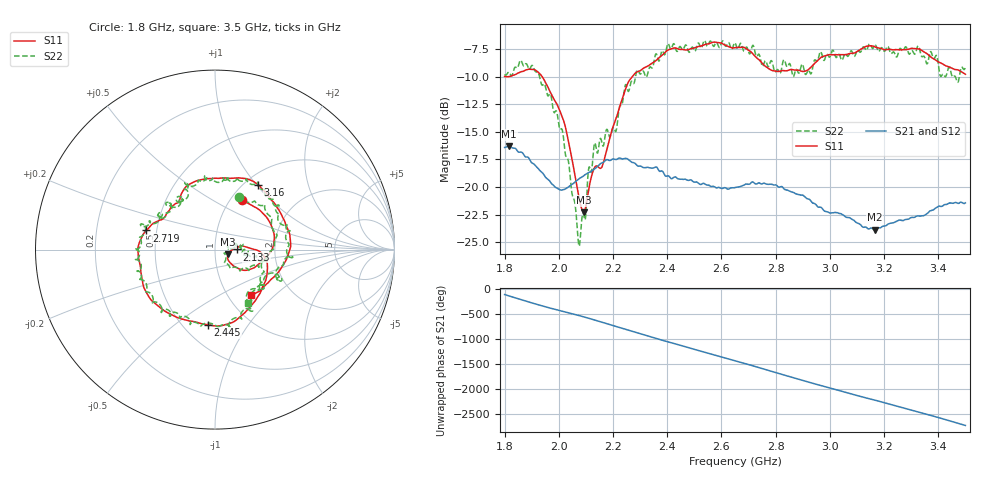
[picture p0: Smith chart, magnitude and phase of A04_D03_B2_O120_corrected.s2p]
! Created with skrf 1.9.0 (http://scikit-rf.org).
# Hz S RI R 50.0
!freq ReS11 ImS11 ReS21 ImS21 ReS12 ImS12 ReS22 ImS22
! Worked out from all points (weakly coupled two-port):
!   1601 points, 1.8 GHz to 3.5 GHz, reference 50 ohm
!   highest |S21| = -16.32 dB at 1.817 GHz (marker M1); lowest = -23.9 dB at 3.165 GHz (marker M2)
!   lowest |S11| = -22.3 dB at 2.092 GHz (marker M3), VSWR 1.17, Z = 57.7 - j2.95 ohm
!   |S11| at or under -10 dB: 1.802 GHz to 1.816 GHz (14.63 MHz wide, 0.809 % of centre); 1.938 GHz to 2.271 GHz (332.9 MHz wide, 15.8 % of centre)
!   |S22| runs from -25.4 to -6.7 dB; largest |S21 - S12| = 0.0026
!   S11 on the Smith chart (normalised r, x): 1.8 GHz: 1.13, +0.70; 2.133 GHz: 1.28, +0.00; 2.445 GHz: 0.66, -0.67; 2.719 GHz: 0.44, +0.11; 3.16 GHz: 1.15, +1.02; 3.5 GHz: 1.27, -0.72
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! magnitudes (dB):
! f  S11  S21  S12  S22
! 1.8 GHz  -10.0  -16.4  -16.4  -9.8
! 1.817 GHz  -10.0  -16.3  -16.3  -9.6
! 1.903 GHz  -9.4  -17.9  -17.9  -9.0
! 1.968 GHz  -11.4  -19.5  -19.6  -11.6
! 2.015 GHz  -13.8  -20.3  -20.3  -15.1
! 2.072 GHz  -20.6  -19.3  -19.3  -25.0
! 2.084 GHz  -21.9  -19.1  -19.1  -23.2
! 2.092 GHz  -22.3  -19.0  -19.0  -22.6
! 2.133 GHz  -18.2  -18.4  -18.3  -16.0
! 2.161 GHz  -18.1  -17.8  -17.7  -16.2
! 2.209 GHz  -13.9  -17.5  -17.5  -15.0
! 2.259 GHz  -10.4  -17.6  -17.6  -11.3
! 2.367 GHz  -8.3  -18.4  -18.4  -8.5
! 2.445 GHz  -7.5  -19.3  -19.3  -7.3
! 2.65 GHz  -7.4  -20.1  -20.0  -6.9
! 2.719 GHz  -8.0  -19.6  -19.5  -7.3
! 2.803 GHz  -9.5  -19.9  -19.9  -9.4
! 2.934 GHz  -9.1  -21.4  -21.3  -9.6
! 3.16 GHz  -7.2  -23.8  -23.8  -7.4
! 3.165 GHz  -7.3  -23.9  -23.8  -7.2
! 3.217 GHz  -7.5  -23.3  -23.3  -7.4
! 3.5 GHz  -9.8  -21.4  -21.4  -9.1
